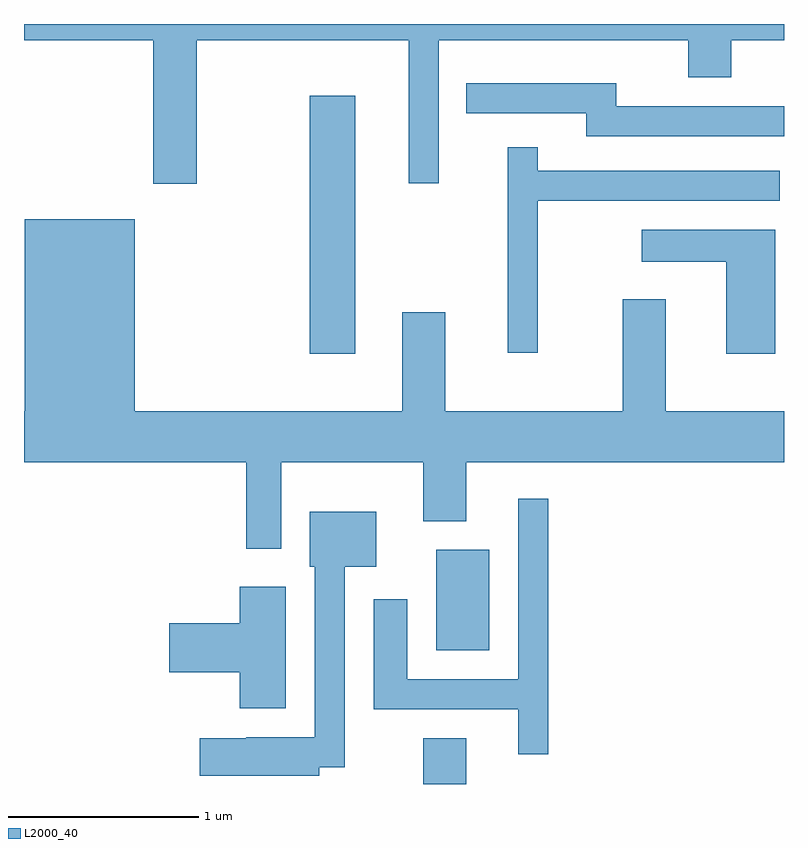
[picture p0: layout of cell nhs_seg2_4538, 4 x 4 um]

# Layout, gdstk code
import gdstk
lib = gdstk.Library(unit=1e-6, precision=1e-09)
def R(c, l, rs):  # rectangles x0, y0, x1, y1
    for r in rs: c.add(gdstk.rectangle(r[:2], r[2:], *l))
def P(c, l, *ps):  # polygons
    for p in ps: c.add(gdstk.Polygon(p, *l))
L2000_40 = (2000, 40)

nhs_seg2_4538 = lib.new_cell('nhs_seg2_4538')
R(nhs_seg2_4538, L2000_40, [(321.711,977.802,321.939,978.044), (321.781,978.506,322.059,979.034), (321.116,980.066,321.354,981.424)])
P(nhs_seg2_4538, L2000_40, [(320.519,981.716),(321.636,981.716),(321.636,980.963),(321.794,980.963),(321.794,981.716),(323.106,981.716),(323.106,981.521),(323.334,981.521),(323.334,981.716),(323.611,981.716),(323.611,981.802),(319.611,981.802),(319.611,981.716),(320.291,981.716),(320.291,980.961),(320.519,980.961)],
  [(323.611,981.369),(322.729,981.369),(322.729,981.489),(321.938,981.489),(321.938,981.331),(322.571,981.331),(322.571,981.211),(323.611,981.211)],
  [(322.314,980.871),(323.588,980.871),(323.588,981.029),(322.314,981.029),(322.314,981.153),(322.156,981.153),(322.156,980.073),(322.314,980.073)],
  [(321.711,979.186),(321.939,979.186),(321.939,979.496),(323.611,979.496),(323.611,979.764),(322.989,979.764),(322.989,980.354),(322.761,980.354),(322.761,979.764),(321.829,979.764),(321.829,980.284),(321.601,980.284),(321.601,979.764),(320.194,979.764),(320.194,980.774),(319.616,980.774),(319.616,979.764),(319.611,979.764),(319.611,979.496),(320.781,979.496),(320.781,979.041),(320.964,979.041),(320.964,979.496),(321.711,979.496)],
  [(323.564,980.719),(322.863,980.719),(322.863,980.551),(323.306,980.551),(323.306,980.066),(323.564,980.066)],
  [(322.369,979.303),(322.211,979.303),(322.211,978.354),(321.629,978.354),(321.629,978.774),(321.451,978.774),(321.451,978.196),(322.211,978.196),(322.211,977.958),(322.369,977.958)],
  [(321.164,977.891),(321.299,977.891),(321.299,978.946),(321.464,978.946),(321.464,979.234),(321.116,979.234),(321.116,978.946),(321.141,978.946),(321.141,978.049),(320.78,978.049),(320.78,978.044),(320.536,978.044),(320.536,977.846),(321.164,977.846)],
  [(320.989,978.839),(320.746,978.839),(320.746,978.649),(320.376,978.649),(320.376,978.391),(320.746,978.391),(320.746,978.201),(320.989,978.201)])

lib.write_gds('nhs_seg2_4538.gds')
